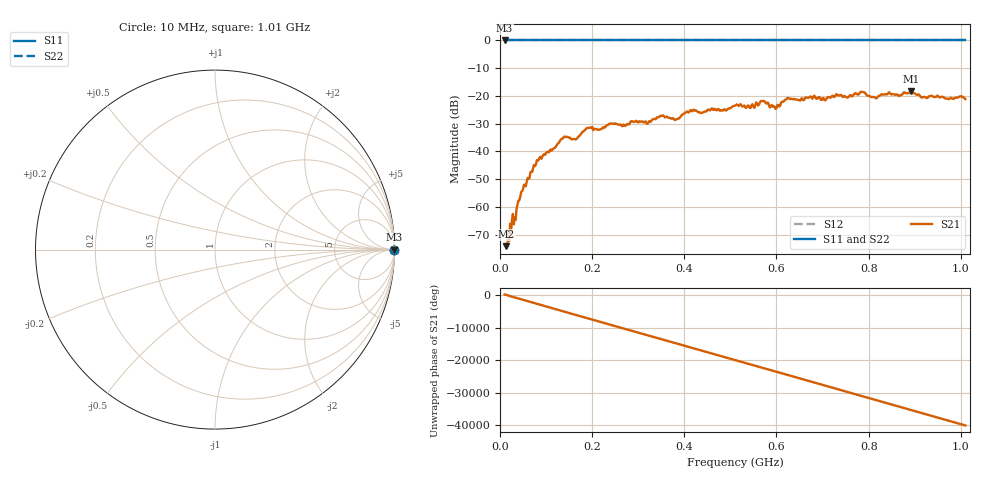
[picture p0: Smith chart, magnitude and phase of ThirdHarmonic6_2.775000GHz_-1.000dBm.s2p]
! 8/17/2025 7:05:08 AM
! C:\ANRITSUVNA\TEMP\TEMP.S2P
! CHANNEL.1
! TR.MEASUREMENT
! RAW.DATA
! RF.CORRECTION.OFF
! AVERAGING.OFF
! IF.BANDWIDTH: 5KHZ
! SWEEPTYPE:  FREQ.SWEEP(Linear)
! Reference Plane Port Info
! PORT:  PORT1  PORT2
! DISTANCE:  0  m  0  m
! TIME:  0  s  0  s
! PHASE.OFFSET:  0  deg.  0  deg.
! LOSS:  0  dB  0  dB
! REF.LOSS:  0  dB  0  dB
! REF.FREQ:  0  Hz  0  Hz
! Power Info
! POWER:  -20  dBm  -20  dBm
! EFF.POWER:  -20  dBm  -20  dBm
! SOURCE.ATTEN:  0  dB  0  dB
! TEST.ATTEN:  0  dB  0  dB
# GHZ S RI R 50.0
! FREQ.GHZ  S11RE  S11IM  S21RE  S21IM  S12RE  S12IM  S22RE  S22IM
!; PortSelection: Port_12
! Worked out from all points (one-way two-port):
!   501 points, 10 MHz to 1.01 GHz, reference 50 ohm
!   highest |S21| = -18.31 dB at 892 MHz (marker M1); lowest = -74.2 dB at 14 MHz (marker M2)
!   lowest |S11| = 0.0 dB at 10 MHz (marker M3)
!   |S11| at or under -10 dB: nowhere
!   |S22| runs from 0.0 to 0.0 dB; largest |S21 - S12| = 1.1
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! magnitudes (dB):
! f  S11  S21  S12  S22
! 10 MHz  0.0  -73.5  0.0  0.0
! 14 MHz  0.0  -74.2  0.0  0.0
! 48 MHz  0.0  -54.3  0.0  0.0
! 84 MHz  0.0  -43.0  0.0  0.0
! 136 MHz  0.0  -35.4  0.0  0.0
! 164 MHz  0.0  -35.7  0.0  0.0
! 178 MHz  0.0  -33.2  0.0  0.0
! 192 MHz  0.0  -31.5  0.0  0.0
! 322 MHz  0.0  -29.5  0.0  0.0
! 344 MHz  0.0  -27.7  0.0  0.0
! 382 MHz  0.0  -28.5  0.0  0.0
! 416 MHz  0.0  -25.5  0.0  0.0
! 510 MHz  0.0  -23.5  0.0  0.0
! 548 MHz  0.0  -23.0  0.0  0.0
! 570 MHz  0.0  -21.9  0.0  0.0
! 596 MHz  0.0  -23.9  0.0  0.0
! 624 MHz  0.0  -20.8  0.0  0.0
! 678 MHz  0.0  -21.0  0.0  0.0
! 844 MHz  0.0  -18.7  0.0  0.0
! 892 MHz  0.0  -18.3  0.0  0.0
! 918 MHz  0.0  -20.4  0.0  0.0
! 1.01 GHz  0.0  -21.2  0.0  0.0
